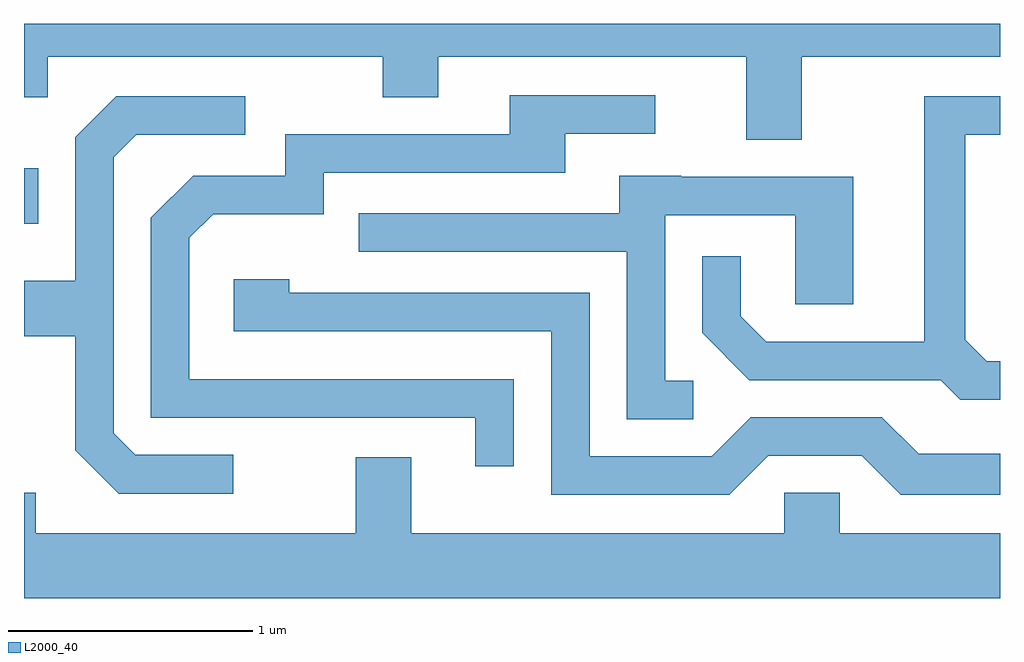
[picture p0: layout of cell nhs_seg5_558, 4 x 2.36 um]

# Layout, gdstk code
import gdstk
lib = gdstk.Library(unit=1e-6, precision=1e-09)
def R(c, l, rs):  # rectangles x0, y0, x1, y1
    for r in rs: c.add(gdstk.rectangle(r[:2], r[2:], *l))
def P(c, l, *ps):  # polygons
    for p in ps: c.add(gdstk.Polygon(p, *l))
L2000_40 = (2000, 40)

nhs_seg5_558 = lib.new_cell('nhs_seg5_558')
R(nhs_seg5_558, L2000_40, [(201.611,1427.251,201.669,1427.479)])
P(nhs_seg5_558, L2000_40, [(204.799,1427.936),(205.611,1427.936),(205.611,1428.072),(201.611,1428.072),(201.611,1427.771),(201.709,1427.771),(201.709,1427.936),(203.081,1427.936),(203.081,1427.771),(203.309,1427.771),(203.309,1427.936),(204.571,1427.936),(204.571,1427.596),(204.799,1427.596)],
  [(203.619,1426.614),(202.289,1426.614),(202.289,1427.194),(202.387,1427.291),(202.839,1427.291),(202.839,1427.461),(203.829,1427.461),(203.829,1427.621),(204.198,1427.621),(204.198,1427.779),(203.601,1427.779),(203.601,1427.619),(202.681,1427.619),(202.681,1427.449),(202.304,1427.449),(202.131,1427.277),(202.131,1426.456),(203.461,1426.456),(203.461,1426.258),(203.619,1426.258)],
  [(202.468,1426.304),(202.067,1426.304),(201.979,1426.392),(201.979,1427.524),(202.072,1427.616),(202.518,1427.616),(202.518,1427.774),(201.989,1427.774),(201.821,1427.607),(201.821,1427.019),(201.611,1427.019),(201.611,1426.791),(201.821,1426.791),(201.821,1426.324),(201.999,1426.146),(202.468,1426.146)],
  [(205.611,1426.689),(205.557,1426.689),(205.469,1426.777),(205.469,1427.616),(205.611,1427.616),(205.611,1427.774),(205.301,1427.774),(205.301,1426.769),(204.652,1426.769),(204.549,1426.872),(204.549,1427.118),(204.391,1427.118),(204.391,1426.804),(204.584,1426.611),(205.369,1426.611),(205.449,1426.531),(205.611,1426.531)],
  [(204.353,1426.609),(204.239,1426.609),(204.239,1427.286),(204.771,1427.286),(204.771,1426.921),(205.009,1426.921),(205.009,1427.444),(204.305,1427.444),(204.305,1427.449),(204.051,1427.449),(204.051,1427.294),(202.983,1427.294),(202.983,1427.136),(204.081,1427.136),(204.081,1426.451),(204.353,1426.451)],
  [(204.662,1426.301),(205.044,1426.301),(205.204,1426.141),(205.611,1426.141),(205.611,1426.309),(205.277,1426.309),(205.127,1426.459),(204.589,1426.459),(204.429,1426.299),(203.929,1426.299),(203.929,1426.969),(202.699,1426.969),(202.699,1427.024),(202.471,1427.024),(202.471,1426.811),(203.771,1426.811),(203.771,1426.141),(204.502,1426.141)],
  [(201.611,1426.149),(201.611,1425.716),(205.611,1425.716),(205.611,1425.984),(204.954,1425.984),(204.954,1426.149),(204.726,1426.149),(204.726,1425.984),(203.199,1425.984),(203.199,1426.294),(202.971,1426.294),(202.971,1425.984),(201.659,1425.984),(201.659,1426.149)])

lib.write_gds('nhs_seg5_558.gds')
